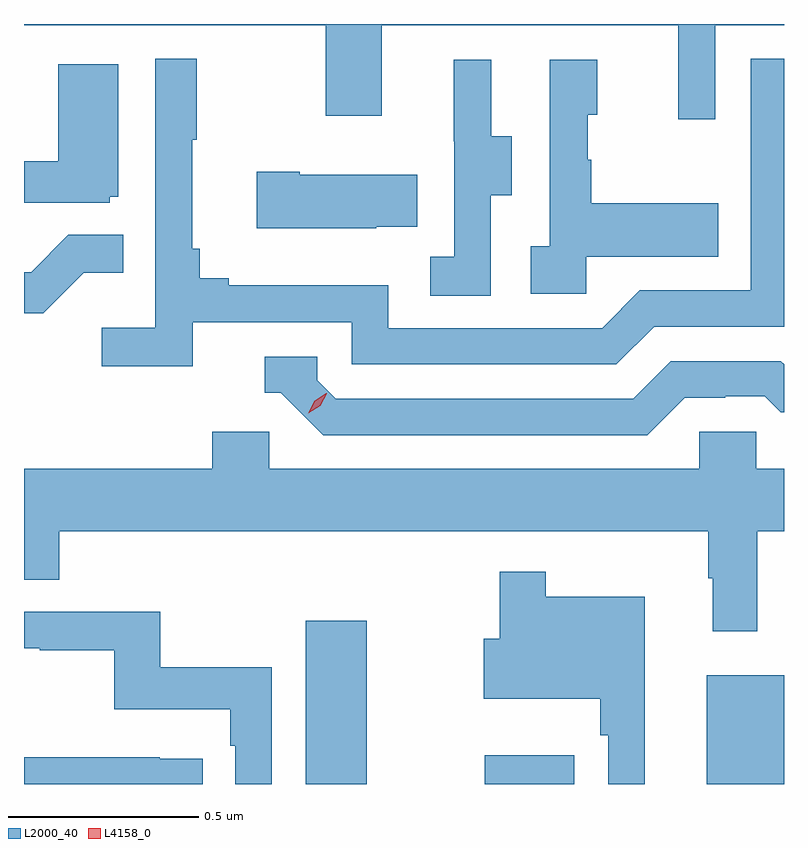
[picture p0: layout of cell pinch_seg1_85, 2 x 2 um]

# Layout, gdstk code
import gdstk
lib = gdstk.Library(unit=1e-6, precision=1e-09)
def R(c, l, rs):  # rectangles x0, y0, x1, y1
    for r in rs: c.add(gdstk.rectangle(r[:2], r[2:], *l))
def P(c, l, *ps):  # polygons
    for p in ps: c.add(gdstk.Polygon(p, *l))
L2000_40 = (2000, 40)
L4158_0 = (4158, 0)

pinch_seg1_85 = lib.new_cell('pinch_seg1_85')
R(pinch_seg1_85, L2000_40, [(1033.127,575.043,1033.288,575.473), (1033.598,575.043,1033.834,575.119), (1034.183,575.043,1034.386,575.329)])
P(pinch_seg1_85, L2000_40, [(1034.205,577.04),(1034.386,577.04),(1034.386,577.043),(1032.386,577.043),(1032.386,577.04),(1033.18,577.04),(1033.18,576.801),(1033.327,576.801),(1033.327,577.04),(1034.108,577.04),(1034.108,576.792),(1034.205,576.792)],
  [(1032.83,576.258),(1033.248,576.258),(1033.248,576.147),(1033.945,576.147),(1034.044,576.246),(1034.386,576.246),(1034.386,576.951),(1034.298,576.951),(1034.298,576.342),(1034.007,576.342),(1033.908,576.243),(1033.344,576.243),(1033.344,576.355),(1032.925,576.355),(1032.925,576.374),(1032.848,576.374),(1032.848,576.451),(1032.829,576.451),(1032.829,576.739),(1032.841,576.739),(1032.841,576.952),(1032.732,576.952),(1032.732,576.244),(1032.591,576.244),(1032.591,576.142),(1032.83,576.142)],
  [(1033.614,576.592),(1033.669,576.592),(1033.669,576.747),(1033.615,576.747),(1033.615,576.949),(1033.517,576.949),(1033.517,576.735),(1033.518,576.735),(1033.518,576.431),(1033.455,576.431),(1033.455,576.328),(1033.614,576.328)],
  [(1033.866,576.431),(1034.213,576.431),(1034.213,576.571),(1033.879,576.571),(1033.879,576.686),(1033.869,576.686),(1033.869,576.804),(1033.894,576.804),(1033.894,576.949),(1033.77,576.949),(1033.77,576.458),(1033.719,576.458),(1033.719,576.333),(1033.866,576.333)],
  [(1032.612,576.588),(1032.634,576.588),(1032.634,576.937),(1032.476,576.937),(1032.476,576.682),(1032.386,576.682),(1032.386,576.573),(1032.612,576.573)],
  [(1033.313,576.509),(1033.421,576.509),(1033.421,576.646),(1033.111,576.646),(1033.111,576.654),(1032.999,576.654),(1032.999,576.506),(1033.313,576.506)],
  [(1032.543,576.389),(1032.647,576.389),(1032.647,576.488),(1032.503,576.488),(1032.405,576.39),(1032.386,576.39),(1032.386,576.282),(1032.436,576.282)],
  [(1034.125,576.06),(1034.232,576.06),(1034.232,576.063),(1034.335,576.063),(1034.377,576.021),(1034.386,576.021),(1034.386,576.147),(1034.377,576.156),(1034.088,576.156),(1033.989,576.057),(1033.206,576.057),(1033.158,576.105),(1033.158,576.168),(1033.019,576.168),(1033.019,576.072),(1033.062,576.072),(1033.173,575.961),(1034.026,575.961)],
  [(1034.315,575.708),(1034.386,575.708),(1034.386,575.872),(1034.313,575.872),(1034.313,575.97),(1034.163,575.97),(1034.163,575.872),(1033.032,575.872),(1033.032,575.97),(1032.881,575.97),(1032.881,575.872),(1032.386,575.872),(1032.386,575.581),(1032.479,575.581),(1032.479,575.708),(1034.187,575.708),(1034.187,575.585),(1034.198,575.585),(1034.198,575.445),(1034.315,575.445)],
  [(1034.02,575.536),(1033.759,575.536),(1033.759,575.602),(1033.638,575.602),(1033.638,575.425),(1033.596,575.425),(1033.596,575.267),(1033.903,575.267),(1033.903,575.171),(1033.923,575.171),(1033.923,575.043),(1034.02,575.043)],
  [(1033.038,575.35),(1032.745,575.35),(1032.745,575.496),(1032.386,575.496),(1032.386,575.4),(1032.427,575.4),(1032.427,575.395),(1032.624,575.395),(1032.624,575.24),(1032.929,575.24),(1032.929,575.144),(1032.942,575.144),(1032.942,575.043),(1033.038,575.043)],
  [(1032.856,575.109),(1032.743,575.109),(1032.743,575.114),(1032.386,575.114),(1032.386,575.043),(1032.856,575.043)])
P(pinch_seg1_85, L4158_0, [(1033.134,576.019),(1033.134,576.019),(1033.151,576.052),(1033.182,576.071),(1033.183,576.071),(1033.183,576.07),(1033.166,576.038),(1033.134,576.019)])

lib.write_gds('pinch_seg1_85.gds')
